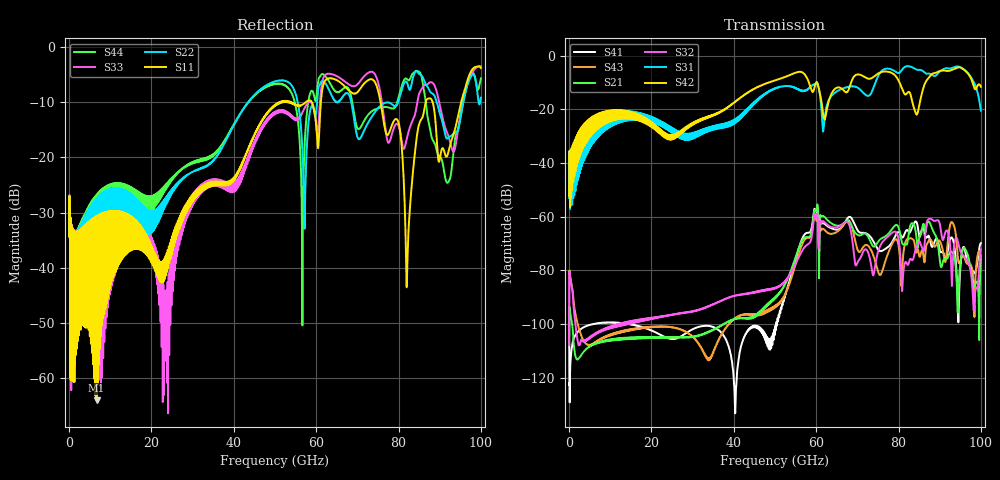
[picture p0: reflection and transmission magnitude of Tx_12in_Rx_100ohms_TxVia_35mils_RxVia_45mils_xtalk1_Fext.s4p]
! Info: Touchstone file created by Circ.  Input file=Tx_12in_Rx_100ohms_TxVia_35mils_RxVia_45mils.circ
# Hz S RI R 50
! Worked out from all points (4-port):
!   10000 points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, 10 MHz to 100 GHz, reference 50 ohm
!   strongest paths, dB at 10 MHz, 25.01 GHz, 50.01 GHz, 75.01 GHz, 100 GHz:
!     S42: -52.5, -30.7, -9.2, -6.7, -11.6
!     S31: -53.1, -28.8, -12.2, -7.8, -20.5
!     S32: -107.9, -96.5, -86.8, -73.2, -72.2
!     S21: -97.8, -104.9, -90.6, -69.4, -75.6
!     S43: -104.0, -101.2, -93.9, -80.3, -74.9
!     S41: -95.2, -105.6, -101.4, -72.2, -69.9
!   lowest |S11| = -64.0 dB at 6.66 GHz (marker M1), VSWR 1.00, Z = 50 - j0.0513 ohm
!   |S11| at or under -10 dB: start of sweep to 51.28 GHz; 75.62 GHz to 86.6 GHz (10.98 GHz wide, 13.5 % of centre); 88.27 GHz to 95.2 GHz (6.936 GHz wide, 7.56 % of centre)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
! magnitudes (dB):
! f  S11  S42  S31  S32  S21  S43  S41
! 10 MHz  -34.2  -52.5  -53.1  -107.9  -97.8  -104.0  -95.2
! 6.66 GHz  -64.0  -27.7  -31.0  -103.7  -107.0  -106.4  -99.8
! 23.41 GHz  -37.9  -30.7  -26.8  -97.0  -105.0  -101.0  -105.0
! 63.48 GHz  -5.7  -15.1  -15.5  -63.8  -62.3  -66.4  -64.2
! 79.79 GHz  -13.3  -8.7  -6.5  -67.0  -63.4  -69.3  -65.9
! 82.11 GHz  -40.1  -14.0  -4.0  -77.8  -70.0  -68.4  -65.0
! 100 GHz  -3.8  -11.6  -20.5  -72.2  -75.6  -74.9  -69.9
